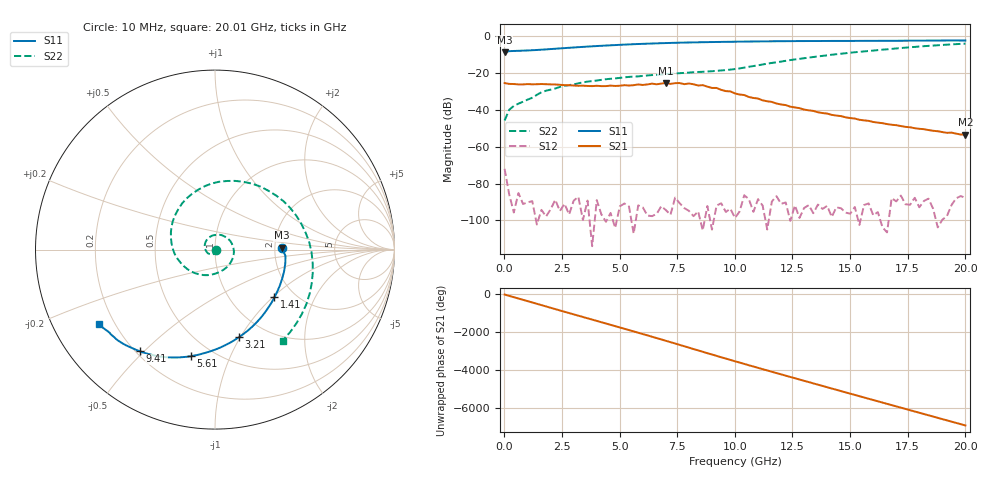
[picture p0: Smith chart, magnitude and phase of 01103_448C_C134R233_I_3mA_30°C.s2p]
!;Filter: kein Filter
!auto
!3/21/2019 9:27:07 AM
!3/21/2019 9:27:22 AM
!SP-Measurements Prober G4
!SP-Measurements Prober G4
!01103_448C
!134
!233
!12
!30
!-20
!0.00299959
!1.83
!0.38139174
!0.38139174
# Hz S  RI  R 50
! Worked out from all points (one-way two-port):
!   101 points, 10 MHz to 20.01 GHz, reference 50 ohm
!   highest |S21| = -25.39 dB at 7.01 GHz (marker M1); lowest = -53.4 dB at 20.01 GHz (marker M2)
!   lowest |S11| = -8.6 dB at 10 MHz (marker M3), VSWR 2.18, Z = 109 + j2.5 ohm
!   |S11| at or under -10 dB: nowhere
!   |S22| runs from -45.7 to -4.0 dB; largest |S21 - S12| = 0.054
!   S11 on the Smith chart (normalised r, x): 10 MHz: 2.18, +0.05; 1.41 GHz: 1.58, -1.03; 3.21 GHz: 0.75, -0.99; 5.61 GHz: 0.38, -0.72; 9.41 GHz: 0.22, -0.49; 20.01 GHz: 0.14, -0.29
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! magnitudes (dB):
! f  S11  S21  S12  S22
! 10 MHz  -8.6  -25.4  -72.0  -45.7
! 210 MHz  -8.1  -25.9  -85.9  -39.9
! 410 MHz  -8.0  -25.9  -95.7  -37.8
! 1.41 GHz  -7.4  -26.0  -102.3  -31.8
! 1.81 GHz  -7.1  -26.0  -97.9  -29.6
! 3.21 GHz  -5.9  -26.9  -87.2  -25.6
! 3.41 GHz  -5.8  -26.8  -99.8  -25.0
! 5.61 GHz  -4.3  -26.6  -107.2  -21.9
! 6.81 GHz  -3.8  -25.7  -92.3  -20.8
! 7.01 GHz  -3.7  -25.4  -94.4  -20.5
! 7.21 GHz  -3.6  -25.9  -97.0  -20.4
! 8.01 GHz  -3.4  -25.6  -94.8  -19.7
! 8.41 GHz  -3.3  -26.7  -95.1  -19.4
! 8.61 GHz  -3.2  -26.5  -105.4  -19.3
! 9.21 GHz  -3.1  -28.1  -92.0  -18.8
! 9.41 GHz  -3.1  -29.1  -90.7  -18.6
! 9.81 GHz  -3.0  -29.9  -93.7  -18.1
! 10.01 GHz  -2.9  -31.0  -98.6  -17.8
! 12.41 GHz  -2.6  -38.2  -100.3  -12.9
! 13.41 GHz  -2.6  -40.5  -96.1  -11.3
! 16.81 GHz  -2.4  -48.1  -87.9  -6.8
! 20.01 GHz  -2.3  -53.4  -87.7  -4.0
